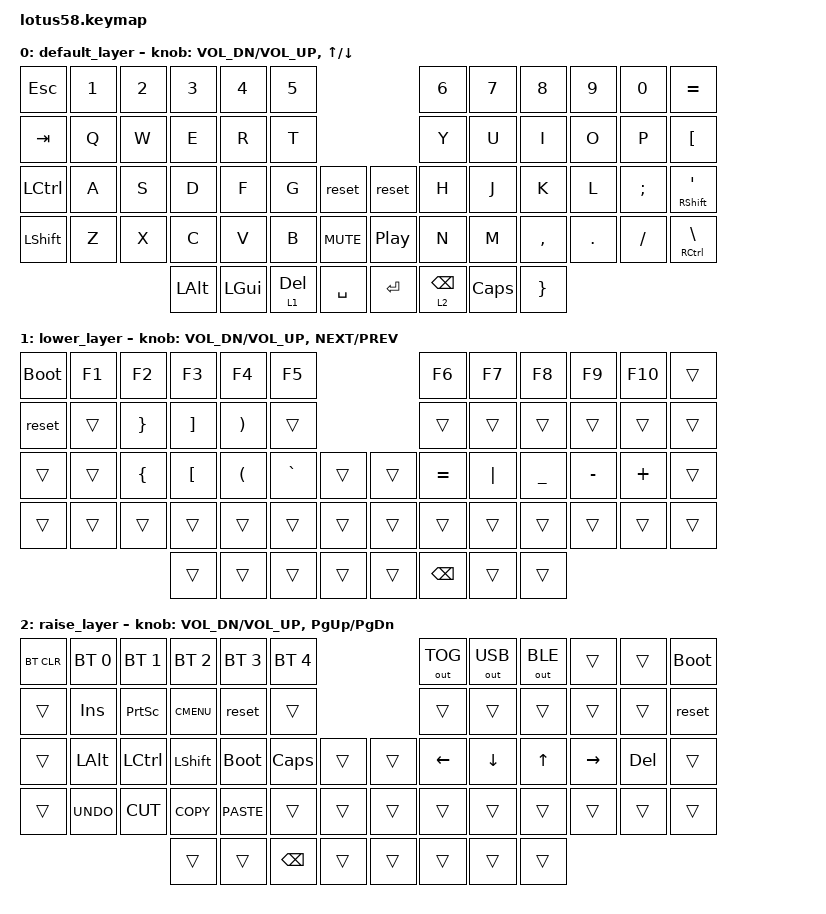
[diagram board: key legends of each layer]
/*
 * Copyright (c) 2022 The ZMK Contributors
 *
 * SPDX-License-Identifier: MIT
 */

#include <behaviors.dtsi>
#include <dt-bindings/zmk/keys.h>
#include <dt-bindings/zmk/bt.h>
#include <dt-bindings/zmk/outputs.h>

/ {
    combos {
        compatible = "zmk,combos";
        combo_dsklg {
            timeout-ms = <100>;
            key-positions = <24 52>;
            layers = <0>;
            bindings = <&kp LGUI>;
        };        
    };

    behaviors {
        fofunc: four_ffour {
            compatible = "zmk,behavior-mod-morph";
            label = "FOUR_FUNCFOUR";
            #binding-cells = <0>;
            bindings = <&kp N4>, <&kp F4>;
            mods = <(MOD_LALT|MOD_RALT)>;
        };
        sleft: s_left {
            compatible = "zmk,behavior-mod-morph";
            label = "S_LEFT";
            #binding-cells = <0>;
            bindings = <&kp S>, <&kp LEFT>;
            mods = <(MOD_LGUI|MOD_RGUI)>;
        };
        fright: f_right {
            compatible = "zmk,behavior-mod-morph";
            label = "R_RIGHT";
            #binding-cells = <0>;
            bindings = <&kp F>, <&kp RIGHT>;
            mods = <(MOD_LGUI|MOD_RGUI)>;
        };
    };

    keymap {
        compatible = "zmk,keymap";

        default_layer {
//   ------------------------------------------------------------------------------------------------------------
//  0|  ESC  |  1  |  2  |  3   |  4   |  5   |                     |  6   |  7    |  8    |  9   |   0   |   =   | 11
// 12|  TAB  |  Q  |  W  |  E   |  R   |  T   |                     |  Y   |  U    |  I    |  O   |   P   |   [   | 23
// 24|  SFT  |  A  |  S  |  D   |  F   |  G   |  RESET  |  | RESET  |  H   |  J    |  K    |  L   |   ;   | ' SFT | 37
// 38|  CTRL |  Z  |  X  |  C   |  V   |  B   |  MUTE   |  | PLAY   |  N   |  M    |  ,    |  .   |   /   | \ CTRL| 51
// 52                    |ENT RS|  ALT | SPACE|DELETE LW|  |ENTER RS| BSPC |  ] LW | RGUI  |                        59
            bindings = <
&kp ESC   &kp N1 &kp N2   &kp N3     &kp N4    &kp N5                               &kp N6    &kp N7      &kp N8    &kp N9   &kp N0   &kp EQUAL
&kp TAB   &kp Q  &kp W    &kp E      &kp R     &kp T                                &kp Y     &kp U       &kp I     &kp O    &kp P    &kp LBKT
&kp LCTRL &kp A  &kp S    &kp D      &kp F     &kp G      &reset         &reset     &kp H     &kp J       &kp K     &kp L    &kp SEMI &mt RSHFT SQT
&kp LSHFT &kp Z  &kp X    &kp C      &kp V     &kp B      &kp C_MUTE     &kp C_PP   &kp N     &kp M       &kp COMMA &kp DOT  &kp FSLH &mt RCTRL BSLH
                          &kp LEFT_ALT &kp LGUI  &lt 1 DEL  &kp SPACE    &kp RET    &lt 2 BSPC &kp CAPS   &kp RBRC  
            >;

            sensor-bindings = <&inc_dec_kp C_VOL_DN C_VOL_UP &inc_dec_kp UP DOWN>;
        };

        lower_layer {
// ------------------------------------------------------------------------------------------------------------
// | `     |  F1 |  F2 |  F3  |  F4  |  F5  |                   |  F6  |  F7   |  F8   |  F9  |  F10  |  F11  |
// |       |  !  | HOME|   ^  |  END |  %   |                   | VOL^ |  PGUP |  INS  |  ^   |  PSCR |   -   |
// |       |  #  |  <- |   v  | ->   |  $   |        |  |       | VOLv |    <- |   ^   |  ->  |   ~   |   _   |
// |       |  @  |  -  |  (   |  )   |  &   |        |  |       | MUTE |  PGDN |   v   |  :   |   *   |   |   |
//                     |  F11 |      |      |        |  |       |      |       |  F12  |       
            bindings = <
&bootloader &kp F1       &kp F2         &kp F3      &kp F4     &kp F5                     &kp F6  &kp F7     &kp F8    &kp F9     &kp F10   &trans
&reset      &trans       &kp RBRC       &kp RBKT    &kp RPAR   &trans                     &trans  &trans     &trans    &trans     &trans    &trans
&trans      &trans       &kp LBRC       &kp LBKT    &kp LPAR   &kp GRAVE &trans   &trans  &kp EQUAL &kp PIPE &kp UNDER &kp MINUS  &kp PLUS  &trans
&trans      &trans       &trans         &trans      &trans     &trans    &trans   &trans  &trans  &trans     &trans    &trans     &trans    &trans
                                        &trans      &trans     &trans    &trans   &trans  &kp BSPC &trans    &trans
            >;

            sensor-bindings = <&inc_dec_kp C_VOL_DN C_VOL_UP &inc_dec_kp C_NEXT C_PREV>;
        };

        raise_layer {
// ------------------------------------------------------------------------------------------------------------
// |BTCLR| BT1  | BT2  |  BT3  |  BT4  |  BT5 |                |OUTTOG|OUTUSB| OUTBT |      | RESET | FLASH |
// |     | INS  | PSCR | GUI   | RESET |      |                | PGUP |      |   ^   |      |       |       |
// |     | ALT  | CTRL | SHIFT | FLASH | CAPS |      |  |      | PGDN |   <- |   v   |  ->  |  DEL  | BSPC  |
// |     | UNDO | CUT  | COPY  | PASTE |      |      |  |      |      |  |>  |  <|<| | |>|> |       |       |
//                     |       |       |      |      |  |      |      |      |       |       
            bindings = <
&bt BT_CLR &bt BT_SEL 0 &bt BT_SEL 1 &bt BT_SEL 2 &bt BT_SEL 3 &bt BT_SEL 4                    &out OUT_TOG  &out OUT_USB  &out OUT_BLE  &trans     &trans  &bootloader
&trans     &kp INS      &kp PSCRN    &kp K_CMENU  &reset       &trans                          &trans        &trans        &trans        &trans     &trans  &reset
&trans     &kp LALT     &kp LCTRL    &kp LSHFT    &bootloader  &kp CLCK     &trans   &trans    &kp LEFT      &kp DOWN      &kp UP        &kp RIGHT  &kp DEL &trans
&trans     &kp K_UNDO   &kp K_CUT    &kp K_COPY   &kp K_PASTE  &trans       &trans   &trans    &trans        &trans        &trans        &trans     &trans  &trans
                                     &trans       &trans       &kp BSPC     &trans   &trans    &trans        &trans        &trans   
            >;

            sensor-bindings = <&inc_dec_kp C_VOL_DN C_VOL_UP &inc_dec_kp PG_UP PG_DN>;
        };
    };
};
